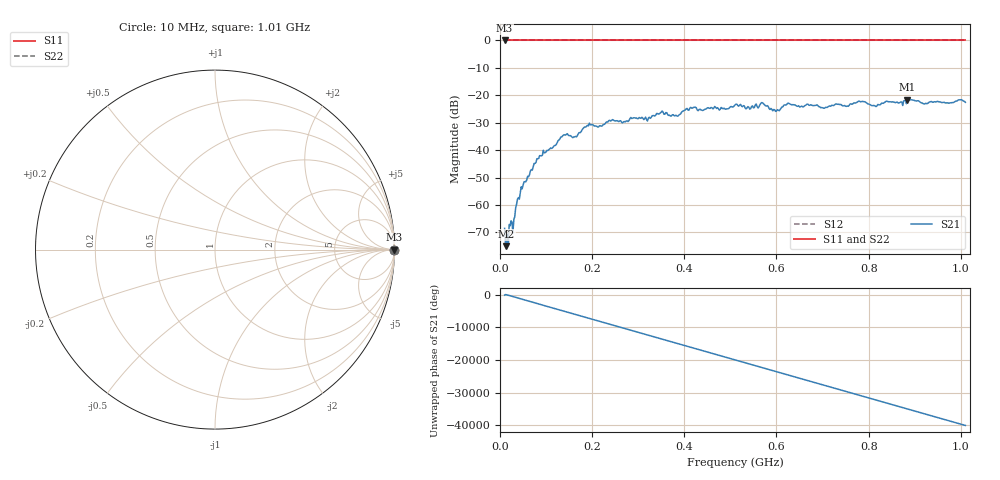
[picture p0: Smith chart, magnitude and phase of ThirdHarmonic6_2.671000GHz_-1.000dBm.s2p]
! 8/17/2025 6:13:11 AM
! C:\ANRITSUVNA\TEMP\TEMP.S2P
! CHANNEL.1
! TR.MEASUREMENT
! RAW.DATA
! RF.CORRECTION.OFF
! AVERAGING.OFF
! IF.BANDWIDTH: 5KHZ
! SWEEPTYPE:  FREQ.SWEEP(Linear)
! Reference Plane Port Info
! PORT:  PORT1  PORT2
! DISTANCE:  0  m  0  m
! TIME:  0  s  0  s
! PHASE.OFFSET:  0  deg.  0  deg.
! LOSS:  0  dB  0  dB
! REF.LOSS:  0  dB  0  dB
! REF.FREQ:  0  Hz  0  Hz
! Power Info
! POWER:  -20  dBm  -20  dBm
! EFF.POWER:  -20  dBm  -20  dBm
! SOURCE.ATTEN:  0  dB  0  dB
! TEST.ATTEN:  0  dB  0  dB
# GHZ S RI R 50.0
! FREQ.GHZ  S11RE  S11IM  S21RE  S21IM  S12RE  S12IM  S22RE  S22IM
!; PortSelection: Port_12
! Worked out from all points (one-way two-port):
!   501 points, 10 MHz to 1.01 GHz, reference 50 ohm
!   highest |S21| = -21.55 dB at 884 MHz (marker M1); lowest = -75.0 dB at 14 MHz (marker M2)
!   lowest |S11| = 0.0 dB at 10 MHz (marker M3)
!   |S11| at or under -10 dB: nowhere
!   |S22| runs from 0.0 to 0.0 dB; largest |S21 - S12| = 1.1
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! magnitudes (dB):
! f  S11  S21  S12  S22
! 10 MHz  0.0  -68.6  0.0  0.0
! 14 MHz  0.0  -75.0  0.0  0.0
! 30 MHz  0.0  -65.3  0.0  0.0
! 36 MHz  0.0  -59.7  0.0  0.0
! 48 MHz  0.0  -54.2  0.0  0.0
! 78 MHz  0.0  -44.5  0.0  0.0
! 136 MHz  0.0  -34.8  0.0  0.0
! 162 MHz  0.0  -35.2  0.0  0.0
! 178 MHz  0.0  -32.6  0.0  0.0
! 194 MHz  0.0  -30.2  0.0  0.0
! 322 MHz  0.0  -28.3  0.0  0.0
! 344 MHz  0.0  -26.8  0.0  0.0
! 382 MHz  0.0  -27.3  0.0  0.0
! 416 MHz  0.0  -24.7  0.0  0.0
! 510 MHz  0.0  -23.5  0.0  0.0
! 570 MHz  0.0  -22.8  0.0  0.0
! 602 MHz  0.0  -25.2  0.0  0.0
! 626 MHz  0.0  -22.9  0.0  0.0
! 678 MHz  0.0  -23.7  0.0  0.0
! 844 MHz  0.0  -22.4  0.0  0.0
! 884 MHz  0.0  -21.6  0.0  0.0
! 1.01 GHz  0.0  -22.6  0.0  0.0
